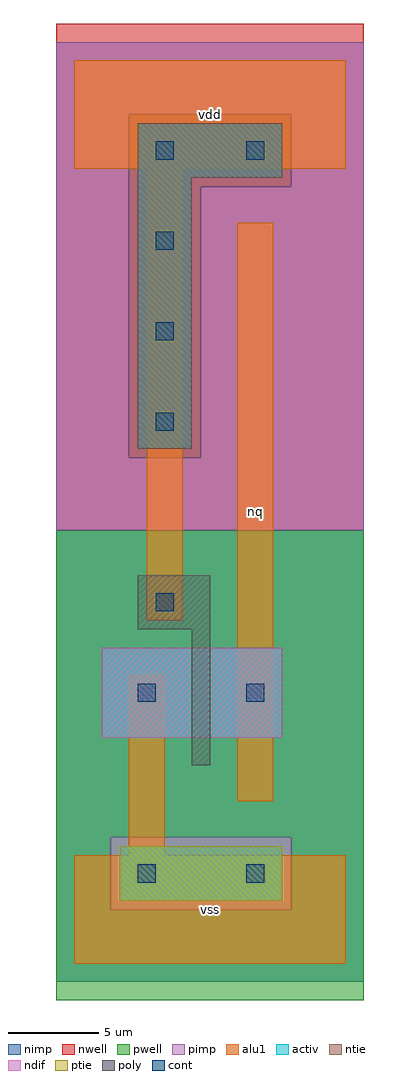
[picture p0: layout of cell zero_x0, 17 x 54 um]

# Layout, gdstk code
import gdstk
lib = gdstk.Library(unit=1e-6, precision=1e-09)
def R(c, l, rs):  # rectangles x0, y0, x1, y1
    for r in rs: c.add(gdstk.rectangle(r[:2], r[2:], *l))
def A(c, l, x, y, w, h, nx, ny, dx, dy):  # array of equal rectangles
    R(c, l, [(x+i*dx, y+j*dy, x+i*dx+w, y+j*dy+h) for i in range(nx) for j in range(ny)])
ndif = (3, 0)
ntie = (5, 0)
ptie = (6, 0)
cont = (25, 0)
pwell = (41, 0)
nwell = (42, 0)
activ = (43, 0)
pimp = (44, 0)
nimp = (45, 0)
poly = (46, 0)
alu1 = (49, 0)

zero_x0 = lib.new_cell('zero_x0')
R(zero_x0, ndif, [(1.5,12.5,11.5,17.5)])
R(zero_x0, ntie, [(3.5,28.5,6.5,43.5), (3.5,43.5,11.5,46.5)])
R(zero_x0, ptie, [(2.5,3.5,11.5,6.5)])
A(zero_x0, cont, 4.5, 29.5, 1, 1, 1, 4, 0, 5)
R(zero_x0, cont, [(3.5,4.5,4.5,5.5), (9.5,4.5,10.5,5.5), (3.5,14.5,4.5,15.5), (9.5,14.5,10.5,15.5), (4.5,19.5,5.5,20.5), (9.5,44.5,10.5,45.5)])
R(zero_x0, pwell, [(-1,-2,16,24)])
R(zero_x0, nwell, [(-1,24,16,52)])
R(zero_x0, activ, [(2.5,3.5,11.5,6.5), (1.5,12.5,11.5,17.5), (3.5,28.5,6.5,43.5), (3.5,43.5,11.5,46.5)])
R(zero_x0, pimp, [(2,3,12,7), (-1,24,16,28), (-1,28,3,47), (7,28,16,43), (12,43,16,47), (-1,47,16,51)])
R(zero_x0, nimp, [(-1,-1,16,3), (-1,3,2,7), (12,3,16,7), (-1,7,16,24), (3,28,7,43), (3,43,12,47)])
R(zero_x0, poly, [(6.5,11,7.5,18.5), (3.5,18.5,7.5,21.5)])
R(zero_x0, alu1, [(0,0,15,6), (3,6,5,16), (9,9,11,41), (4,19,6,44), (0,44,15,50)])
zero_x0.add(gdstk.Label('vss', (7.5,3), layer=49, texttype=0))
zero_x0.add(gdstk.Label('nq', (10,25), layer=49, texttype=0))
zero_x0.add(gdstk.Label('vdd', (7.5,47), layer=49, texttype=0))

lib.write_gds('zero_x0.gds')
